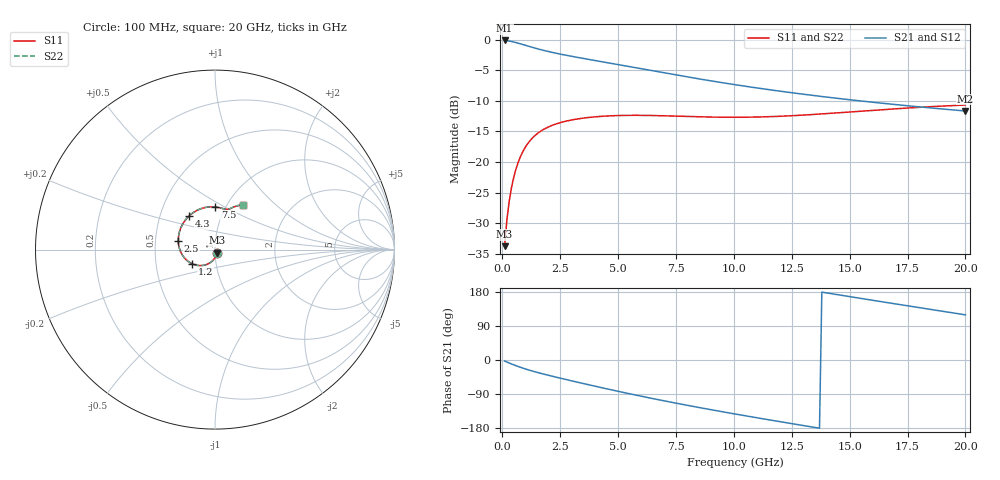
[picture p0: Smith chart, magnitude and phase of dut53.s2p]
! Touchstone file exported from HFSS 2023.1.0
!  File:  D:/Users/fzz/RDL_TSV/temp_RDL_TSV_53_1778745675.aedt
!  Generated:  4:10:35 %x4E0B%x5348  5%x6708 14, 2026
!  Design:  RDL_TSV
!  Project:  temp_RDL_TSV_53_1778745675
!  Setup:  Setup1
!  Solution:  Sweep
! Variables:
!  dtsv = 23.72um
!  hbump = 3um
!  htsv = 99.7um
!  ldown = 523.38um
!  lrdl = 246.86um
!  p = 40
!  p1 = 57.84um
!  rhole = 10um
!  subl = 2557.58um
!  t = 450um
!  tdown = 3.83um
!  trdl = 3.14um
!  viad = 10um
!  wdown = 26.62um
!  wrdl = 15.08um
!  xbump = 18um
# GHz S MA R 50.000000
! Terminal data exported
! Port[1] = TM1_1_T1
! Port[2] = TM1_4_T1
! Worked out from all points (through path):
!   200 points, 100 MHz to 20 GHz, reference 50 ohm
!   highest |S21| = -0.13 dB at 100 MHz (marker M1); lowest = -11.7 dB at 20 GHz (marker M2)
!   group delay of S21, straight-line fit = 31.5 ps
!   lowest |S11| = -33.8 dB at 100 MHz (marker M3), VSWR 1.04, Z = 51.1 - j1.73 ohm
!   |S11| at or under -10 dB: start of sweep to end of sweep
!   |S22| runs from -33.8 to -10.6 dB; largest |S21 - S12| = 4.3e-14
!   S11 on the Smith chart (normalised r, x): 100 MHz: 1.02, -0.03; 1.2 GHz: 0.77, -0.12; 2.5 GHz: 0.66, +0.06; 4.3 GHz: 0.70, +0.28; 7.5 GHz: 0.90, +0.45; 20 GHz: 1.18, +0.64
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0.1  0.02053 -55.5  0.9853 -2.7  0.9853 -2.7  0.02053 -55.5
! Gamma 0 0 0 0
! Port Impedance 50 0 50 0
0.2  0.03379 -78.8  0.9811 -5.4  0.9811 -5.4  0.03379 -78.8
0.3  0.04803 -91.7  0.9746 -8.0  0.9746 -8.0  0.04804 -91.8
0.4  0.06218 -101.2  0.9664 -10.5  0.9664 -10.5  0.06218 -101.2
0.5  0.07584 -109.1  0.9568 -13.0  0.9568 -13.0  0.07585 -109.1
0.6  0.08884 -116.0  0.9463 -15.3  0.9463 -15.3  0.08885 -116.0
0.8  0.1124 -128.0  0.9233 -19.7  0.9233 -19.7  0.1124 -128.0
1.2  0.1496 -148.0  0.8763 -27.5  0.8763 -27.5  0.1497 -148.0
1.7  0.1808 -168.0  0.8249 -35.9  0.8249 -35.9  0.1809 -168.0
2.5  0.2097 167.1  0.7624 -47.9  0.7624 -47.9  0.2099 167.0
3.5  0.2286 143.3  0.7023 -62.1  0.7023 -62.1  0.2288 143.2
4.3  0.2364 128.0  0.6601 -73.2  0.6601 -73.2  0.2367 128.0
5.4  0.2407 111.2  0.606 -87.9  0.606 -87.9  0.241 111.2
6.8  0.2392 95.5  0.5432 -105.5  0.5432 -105.5  0.2396 95.5
7.5  0.2372 89.7  0.5148 -113.9  0.5148 -113.9  0.2376 89.6
8.8  0.2335 81.6  0.4675 -128.8  0.4675 -128.8  0.2339 81.6
10.1  0.2321 76.4  0.4272 -143.0  0.4272 -143.0  0.2326 76.5
11.7  0.2354 72.4  0.3861 -159.8  0.3861 -159.8  0.2359 72.5
13.4  0.2445 69.4  0.3505 -177.0  0.3505 -177.0  0.2452 69.5
16.7  0.2702 63.8  0.2984 150.7  0.2984 150.7  0.2712 63.9
18.3  0.282 60.9  0.279 135.4  0.279 135.4  0.2832 61.0
20  0.2923 57.8  0.2613 119.2  0.2613 119.2  0.2936 58.0
